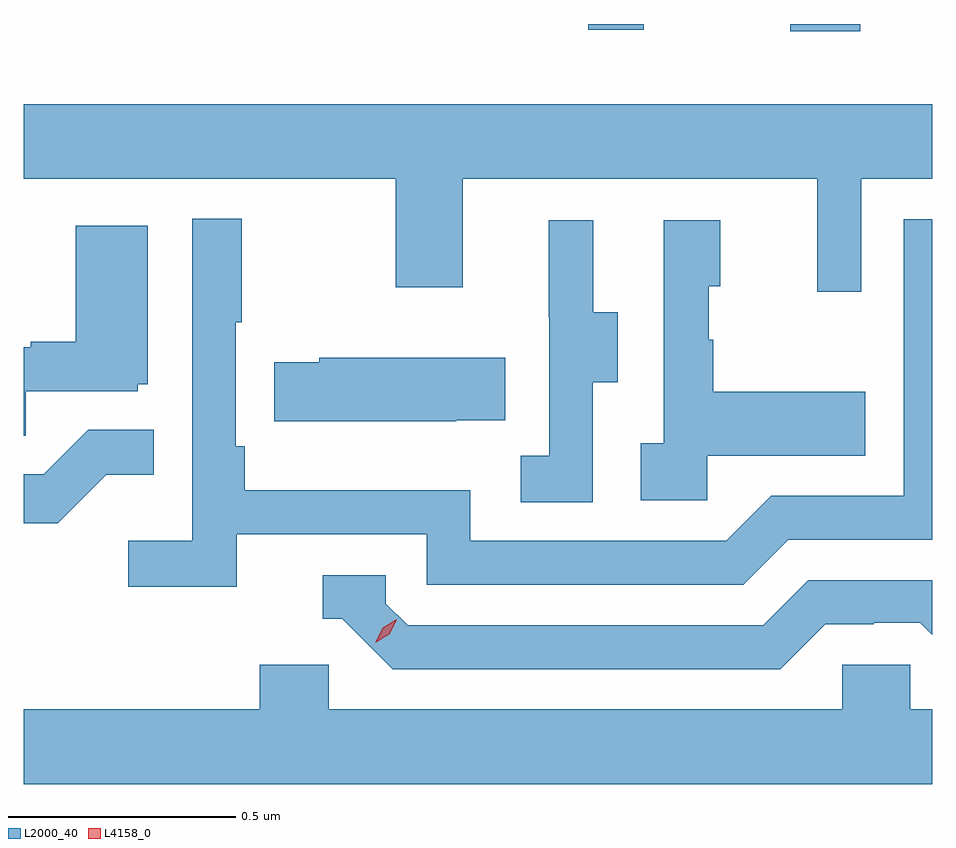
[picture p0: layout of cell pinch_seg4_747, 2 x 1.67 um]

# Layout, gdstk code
import gdstk
lib = gdstk.Library(unit=1e-6, precision=1e-09)
def R(c, l, rs):  # rectangles x0, y0, x1, y1
    for r in rs: c.add(gdstk.rectangle(r[:2], r[2:], *l))
def P(c, l, *ps):  # polygons
    for p in ps: c.add(gdstk.Polygon(p, *l))
L2000_40 = (2000, 40)
L4158_0 = (4158, 0)

pinch_seg4_747 = lib.new_cell('pinch_seg4_747')
R(pinch_seg4_747, L2000_40, [(888.416,827.781,888.571,827.797), (887.972,827.784,888.094,827.797)])
P(pinch_seg4_747, L2000_40, [(888.573,827.456),(888.729,827.456),(888.729,827.62),(886.729,827.62),(886.729,827.456),(887.548,827.456),(887.548,827.217),(887.695,827.217),(887.695,827.456),(888.476,827.456),(888.476,827.208),(888.573,827.208)],
  [(887.198,826.674),(887.616,826.674),(887.616,826.563),(888.313,826.563),(888.412,826.662),(888.729,826.662),(888.729,827.367),(888.666,827.367),(888.666,826.758),(888.375,826.758),(888.276,826.659),(887.712,826.659),(887.712,826.771),(887.216,826.771),(887.216,826.867),(887.196,826.867),(887.196,827.14),(887.209,827.14),(887.209,827.368),(887.1,827.368),(887.1,826.66),(886.959,826.66),(886.959,826.558),(887.198,826.558)],
  [(888.234,826.847),(888.581,826.847),(888.581,826.987),(888.247,826.987),(888.247,827.102),(888.237,827.102),(888.237,827.22),(888.262,827.22),(888.262,827.365),(888.138,827.365),(888.138,826.874),(888.087,826.874),(888.087,826.749),(888.234,826.749)],
  [(887.982,827.008),(888.037,827.008),(888.037,827.163),(887.983,827.163),(887.983,827.365),(887.885,827.365),(887.885,827.151),(887.886,827.151),(887.886,826.847),(887.823,826.847),(887.823,826.744),(887.982,826.744)],
  [(886.733,826.989),(886.98,826.989),(886.98,827.004),(887.002,827.004),(887.002,827.353),(886.844,827.353),(886.844,827.098),(886.745,827.098),(886.745,827.085),(886.729,827.085),(886.729,826.891),(886.733,826.891)],
  [(887.681,826.925),(887.789,826.925),(887.789,827.062),(887.379,827.062),(887.379,827.052),(887.281,827.052),(887.281,826.922),(887.681,826.922)],
  [(886.911,826.805),(887.015,826.805),(887.015,826.904),(886.871,826.904),(886.773,826.806),(886.729,826.806),(886.729,826.698),(886.804,826.698)],
  [(888.493,826.476),(888.6,826.476),(888.6,826.479),(888.703,826.479),(888.729,826.453),(888.729,826.572),(888.456,826.572),(888.357,826.473),(887.574,826.473),(887.526,826.521),(887.526,826.584),(887.387,826.584),(887.387,826.488),(887.43,826.488),(887.541,826.377),(888.394,826.377)],
  [(888.729,826.288),(888.681,826.288),(888.681,826.386),(888.531,826.386),(888.531,826.288),(887.4,826.288),(887.4,826.386),(887.249,826.386),(887.249,826.288),(886.729,826.288),(886.729,826.124),(888.729,826.124)])
P(pinch_seg4_747, L4158_0, [(887.503,826.435),(887.503,826.435),(887.519,826.468),(887.55,826.487),(887.55,826.487),(887.55,826.486),(887.534,826.454),(887.503,826.435)])

lib.write_gds('pinch_seg4_747.gds')
